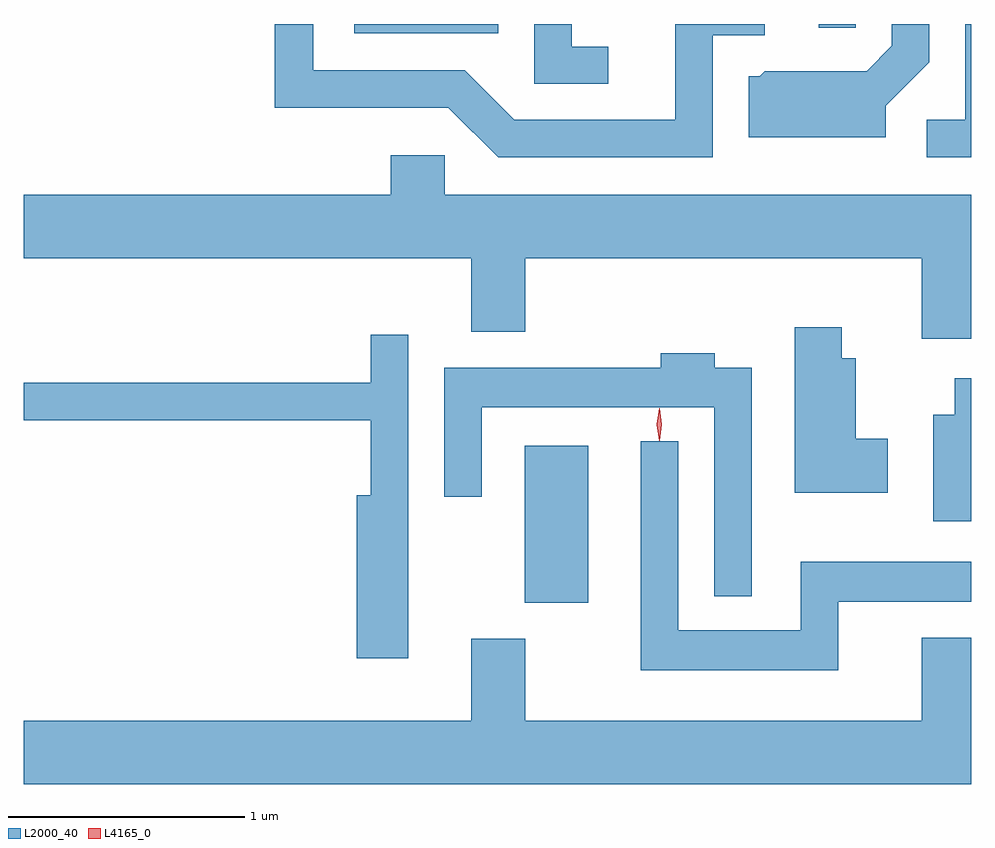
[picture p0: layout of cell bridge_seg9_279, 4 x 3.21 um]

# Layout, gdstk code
import gdstk
lib = gdstk.Library(unit=1e-6, precision=1e-09)
def R(c, l, rs):  # rectangles x0, y0, x1, y1
    for r in rs: c.add(gdstk.rectangle(r[:2], r[2:], *l))
def P(c, l, *ps):  # polygons
    for p in ps: c.add(gdstk.Polygon(p, *l))
L2000_40 = (2000, 40)
L4165_0 = (4165, 0)

bridge_seg9_279 = lib.new_cell('bridge_seg9_279')
R(bridge_seg9_279, L2000_40, [(1000.036,2079.161,1000.304,2079.824), (999.316,2081.566,999.924,2081.604), (1001.276,2081.588,1001.434,2081.604)])
P(bridge_seg9_279, L2000_40, [(1000.829,2081.556),(1001.049,2081.556),(1001.049,2081.604),(1000.671,2081.604),(1000.671,2081.199),(999.992,2081.199),(999.782,2081.409),(999.144,2081.409),(999.144,2081.604),(998.981,2081.604),(998.981,2081.251),(999.714,2081.251),(999.924,2081.041),(1000.829,2081.041)],
  [(1000.388,2081.509),(1000.234,2081.509),(1000.234,2081.604),(1000.076,2081.604),(1000.076,2081.351),(1000.388,2081.351)],
  [(1001.559,2081.259),(1001.744,2081.443),(1001.744,2081.604),(1001.586,2081.604),(1001.586,2081.512),(1001.479,2081.404),(1001.049,2081.404),(1001.029,2081.384),(1000.981,2081.384),(1000.981,2081.126),(1001.559,2081.126)],
  [(1001.921,2081.604),(1001.896,2081.604),(1001.896,2081.199),(1001.733,2081.199),(1001.733,2081.041),(1001.921,2081.041)],
  [(1001.921,2080.884),(999.699,2080.884),(999.699,2081.049),(999.471,2081.049),(999.471,2080.884),(997.921,2080.884),(997.921,2080.616),(999.811,2080.616),(999.811,2080.306),(1000.039,2080.306),(1000.039,2080.616),(1001.711,2080.616),(1001.711,2080.276),(1001.921,2080.276)],
  [(1001.569,2079.854),(1001.434,2079.854),(1001.434,2080.194),(1001.374,2080.194),(1001.374,2080.324),(1001.176,2080.324),(1001.176,2079.626),(1001.569,2079.626)],
  [(999.544,2080.293),(999.386,2080.293),(999.386,2080.089),(997.921,2080.089),(997.921,2079.931),(999.386,2079.931),(999.386,2079.614),(999.326,2079.614),(999.326,2078.926),(999.544,2078.926)],
  [(1000.994,2080.154),(1000.839,2080.154),(1000.839,2080.214),(1000.611,2080.214),(1000.611,2080.154),(999.696,2080.154),(999.696,2079.608),(999.854,2079.608),(999.854,2079.986),(1000.836,2079.986),(1000.836,2079.188),(1000.994,2079.188)],
  [(1001.921,2080.109),(1001.851,2080.109),(1001.851,2079.954),(1001.761,2079.954),(1001.761,2079.506),(1001.921,2079.506)],
  [(1001.359,2079.166),(1001.921,2079.166),(1001.921,2079.334),(1001.201,2079.334),(1001.201,2079.044),(1000.684,2079.044),(1000.684,2079.843),(1000.526,2079.843),(1000.526,2078.876),(1001.359,2078.876)],
  [(1001.921,2079.014),(1001.711,2079.014),(1001.711,2078.664),(1000.039,2078.664),(1000.039,2079.009),(999.811,2079.009),(999.811,2078.664),(997.921,2078.664),(997.921,2078.396),(1001.921,2078.396)])
P(bridge_seg9_279, L4165_0, [(1000.604,2079.844),(1000.604,2079.844),(1000.594,2079.913),(1000.604,2079.982),(1000.604,2079.983),(1000.605,2079.982),(1000.614,2079.913),(1000.605,2079.844)],
  [(1000.604,2079.847),(1000.604,2079.847),(1000.594,2079.914),(1000.604,2079.98),(1000.604,2079.98),(1000.605,2079.98),(1000.614,2079.914),(1000.605,2079.847)])

lib.write_gds('bridge_seg9_279.gds')
